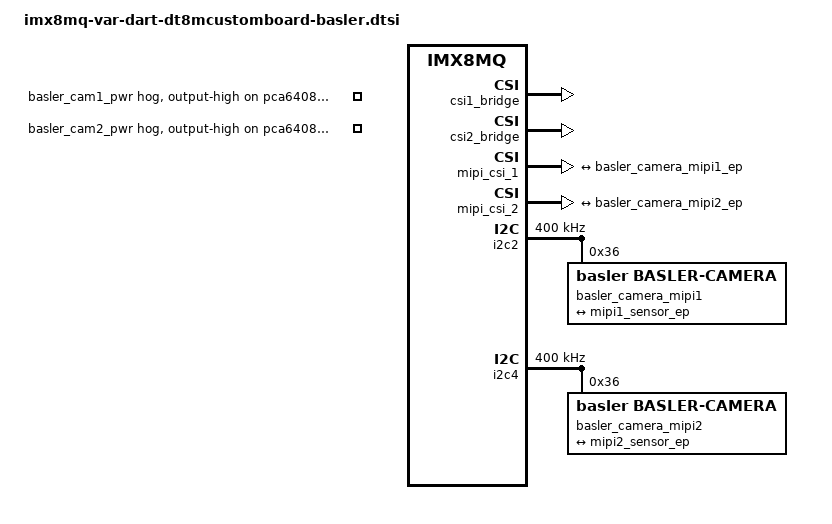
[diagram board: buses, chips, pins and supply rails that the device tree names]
// SPDX-License-Identifier: (GPL-2.0 OR MIT)
/*
 * Copyright 2017 NXP
 * Copyright 2018-2021 Variscite Ltd.
 */

&csi1_bridge {
	dma-coherent;
	bsl,dma-invalidate;
	fsl,two-8bit-sensor-mode;
	yuv-double-component;
	status = "okay";
};

&csi2_bridge {
	dma-coherent;
	bsl,dma-invalidate;
	fsl,two-8bit-sensor-mode;
	yuv-double-component;
	status = "okay";
};

&mipi_csi_1 {
	#address-cells = <1>;
	#size-cells = <0>;
	rxhs-settle = <0x07>;
	status = "okay";

	/* When the second clock is changed, the link-frequencies entry in
	 * the basler_camera_mipi1_ep node also needs to be updated. */
	assigned-clock-rates = <266000000>, <125000000>, <66000000>;

	port {
		mipi1_sensor_ep: endpoint@0 {
			remote-endpoint = <&basler_camera_mipi1_ep>;

			/* If the following entries are changed, then
			 * the entries in the basler_camera_mipi1_ep node
			 * need to updated too. */
			clock-lanes = <0>;
			data-lanes = <1 2 3 4>;
			pixel-mode = <1>;
		};
	};
};

&mipi_csi_2 {
	#address-cells = <1>;
	#size-cells = <0>;
	rxhs-settle = <0x07>;
	status = "okay";

	/* When the second clock is changed, the link-frequencies entry in
	 * the basler_camera_mipi2_ep node also needs to be updated. */
	assigned-clock-rates = <266000000>, <125000000>, <66000000>;

	port {
		mipi2_sensor_ep: endpoint@0 {
			remote-endpoint = <&basler_camera_mipi2_ep>;

			/* If the following entries are changed, then
			 * the entries in the basler_camera_mipi2_ep node
			 * need to updated too. */
			clock-lanes = <0>;
			data-lanes = <1 2 3 4>;
			pixel-mode = <1>;
		};
	};
};

&i2c2 {
	clock-frequency = <400000>;

	/delete-node/ov5640_mipi1@3c;

	basler_camera_mipi1: basler_camera_mipi@36 {
		compatible = "basler,basler-camera";
		reg = <0x36>;
		status = "okay";

		port {
			basler_camera_mipi1_ep: endpoint {
				remote-endpoint = <&mipi1_sensor_ep>;

				/* IMPORTANT: The following three entries needs to be held
				 * in sync with the information stored in the mipi2_sensor_ep node.
				 */
				data-lanes = <1 2 3 4>;
				clock-lanes = <0>;
				link-frequencies = /bits/ 64 <248000000>;
			};
		};
	};
};

&i2c4 {
	clock-frequency = <400000>;

	/delete-node/ov5640_mipi2@3c;

	basler_camera_mipi2: basler_camera_mipi@36 {
		compatible = "basler,basler-camera";
		reg = <0x36>;
		status = "okay";

		port {
			basler_camera_mipi2_ep: endpoint {
				remote-endpoint = <&mipi2_sensor_ep>;

				/* IMPORTANT: The following three entries needs to be held
				 * in sync with the information stored in the mipi1_sensor_ep node. */
				data-lanes = <1 2 3 4>;
				clock-lanes = <0>;
				link-frequencies = /bits/ 64 <248000000>;
			};
		};
	};
};

&pca6408_1 {
	cam1_pwr_hog {
		gpio-hog;
		gpios = <3 0>;
		output-high;
		line-name = "basler_cam1_pwr";
	};

	cam2_pwr_hog {
		gpio-hog;
		gpios = <3 0>;
		output-high;
		line-name = "basler_cam2_pwr";
	};
};
